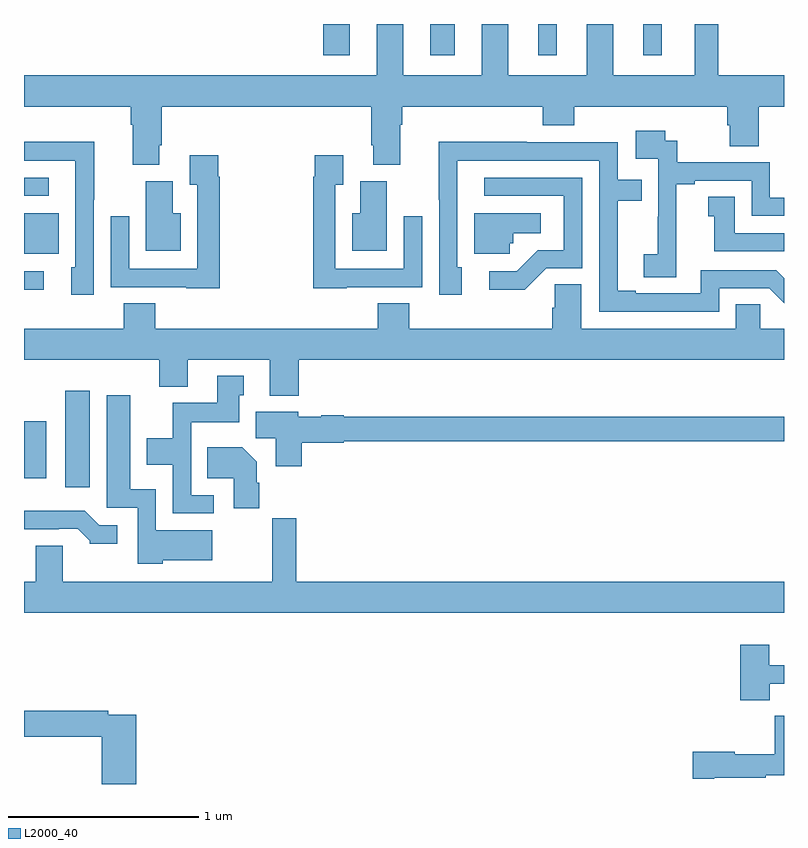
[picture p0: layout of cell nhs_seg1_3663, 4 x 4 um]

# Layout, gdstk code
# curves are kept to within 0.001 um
import gdstk
lib = gdstk.Library(unit=1e-6, precision=1e-09)
def R(c, l, rs):  # rectangles x0, y0, x1, y1
    for r in rs: c.add(gdstk.rectangle(r[:2], r[2:], *l))
def P(c, l, *ps):  # polygons
    for p in ps: c.add(gdstk.Polygon(p, *l))
L2000_40 = (2000, 40)

nhs_seg1_3663 = lib.new_cell('nhs_seg1_3663')
R(nhs_seg1_3663, L2000_40, [(311.216,517.761,311.347,518.269), (311,517.808,311.116,518.107), (311,518.801,311.104,518.898), (311,518.991,311.182,519.202), (311,519.294,311.131,519.39), (312.575,520.035,312.715,520.199), (313.139,520.035,313.267,520.199), (313.706,520.035,313.804,520.199), (314.258,520.035,314.356,520.199)])
P(nhs_seg1_3663, L2000_40, [(311,519.764),(311.561,519.764),(311.561,519.668),(311.573,519.668),(311.573,519.457),(311.713,519.457),(311.713,519.562),(311.726,519.562),(311.726,519.764),(312.827,519.764),(312.827,519.562),(312.839,519.562),(312.839,519.457),(312.979,519.457),(312.979,519.668),(312.992,519.668),(312.992,519.764),(313.73,519.764),(313.73,519.665),(313.895,519.665),(313.895,519.764),(314.702,519.764),(314.702,519.666),(314.714,519.666),(314.714,519.556),(314.867,519.556),(314.867,519.764),(315,519.764),(315,519.928),(314.653,519.928),(314.653,520.199),(314.531,520.199),(314.531,519.928),(314.101,519.928),(314.101,520.199),(313.961,520.199),(313.961,519.928),(313.549,519.928),(313.549,520.199),(313.409,520.199),(313.409,519.928),(312.997,519.928),(312.997,520.199),(312.857,520.199),(312.857,519.928),(311,519.928)],
  [(314.432,518.977),(314.434,518.977),(314.434,519.355),(314.53,519.355),(314.53,519.375),(314.829,519.375),(314.829,519.189),(315,519.189),(315,519.285),(314.925,519.285),(314.925,519.471),(314.438,519.471),(314.438,519.585),(314.376,519.585),(314.376,519.637),(314.22,519.637),(314.22,519.489),(314.337,519.489),(314.337,519.185),(314.336,519.185),(314.336,518.988),(314.262,518.988),(314.262,518.866),(314.432,518.866)],
  [(314.658,518.808),(314.922,518.808),(315,518.73),(315,518.862),(314.958,518.904),(314.562,518.904),(314.562,518.781),(314.221,518.781),(314.221,518.796),(314.125,518.796),(314.125,519.27),(314.252,519.27),(314.252,519.378),(314.124,519.378),(314.124,519.576),(313.646,519.576),(313.646,519.578),(313.184,519.578),(313.185,518.775),(313.303,518.775),(313.303,518.919),(313.281,518.919),(313.281,519.48),(314.028,519.48),(314.028,518.685),(314.658,518.685)],
  [(311.367,519.274),(311.369,519.274),(311.369,519.578),(311,519.578),(311,519.48),(311.271,519.48),(311.271,518.919),(311.249,518.919),(311.249,518.775),(311.367,518.775)],
  [(312.699,518.814),(313.095,518.814),(313.095,519.187),(312.999,519.187),(312.999,518.91),(312.639,518.91),(312.639,519.352),(312.679,519.352),(312.679,519.508),(312.531,519.508),(312.531,519.395),(312.523,519.395),(312.523,518.807),(312.699,518.807)],
  [(312.029,519.395),(312.022,519.395),(312.022,519.508),(311.873,519.508),(311.873,519.352),(311.913,519.352),(311.913,518.91),(311.553,518.91),(311.553,519.187),(311.457,519.187),(311.457,518.814),(311.853,518.814),(311.853,518.807),(312.029,518.807)],
  [(313.749,518.913),(313.938,518.913),(313.938,519.39),(313.422,519.39),(313.422,519.294),(313.842,519.294),(313.842,519.009),(313.704,519.009),(313.593,518.898),(313.449,518.898),(313.449,518.801),(313.636,518.801)],
  [(312.91,519.371),(312.77,519.371),(312.77,519.202),(312.728,519.202),(312.728,519.005),(312.91,519.005)],
  [(311.824,519.202),(311.782,519.202),(311.782,519.371),(311.642,519.371),(311.642,519.005),(311.824,519.005)],
  [(315,519.099),(314.74,519.099),(314.74,519.29),(314.6,519.29),(314.6,519.187),(314.633,519.187),(314.633,519.003),(315,519.003)],
  [(313.557,519.045),(313.575,519.045),(313.575,519.098),(313.72,519.098),(313.72,519.202),(313.37,519.202),(313.37,518.991),(313.557,518.991)],
  [(312.446,518.432),(315,518.432),(315,518.596),(314.874,518.596),(314.874,518.723),(314.747,518.723),(314.747,518.596),(313.933,518.596),(313.933,518.828),(313.794,518.828),(313.794,518.705),(313.781,518.705),(313.781,518.596),(313.028,518.596),(313.028,518.729),(312.863,518.729),(312.863,518.596),(311.69,518.596),(311.69,518.729),(311.525,518.729),(311.525,518.596),(311,518.596),(311,518.432),(311.711,518.432),(311.711,518.291),(311.863,518.291),(311.863,518.432),(312.293,518.432),(312.293,518.243),(312.446,518.243)],
  [(311.998,517.719),(311.88,517.719),(311.88,518.102),(312.133,518.102),(312.133,518.244),(312.157,518.244),(312.157,518.347),(312.017,518.347),(312.017,518.206),(311.782,518.206),(311.782,518.02),(311.645,518.02),(311.645,517.88),(311.784,517.88),(311.784,517.623),(311.998,517.623)],
  [(311.73,517.376),(311.992,517.376),(311.992,517.534),(311.694,517.534),(311.694,517.75),(311.56,517.75),(311.56,518.245),(311.435,518.245),(311.435,517.653),(311.598,517.653),(311.598,517.358),(311.73,517.358)],
  [(312.461,517.994),(312.684,517.994),(312.684,518.002),(315,518.002),(315,518.131),(312.684,518.131),(312.684,518.139),(312.564,518.139),(312.564,518.131),(312.444,518.131),(312.444,518.158),(312.221,518.158),(312.221,518.02),(312.326,518.02),(312.326,517.871),(312.461,517.871)],
  [(312.239,517.784),(312.226,517.784),(312.226,517.894),(312.148,517.972),(311.965,517.972),(311.965,517.808),(312.104,517.808),(312.104,517.65),(312.239,517.65)],
  [(311.491,517.56),(311.397,517.56),(311.321,517.636),(311,517.636),(311,517.539),(311.183,517.539),(311.183,517.542),(311.282,517.542),(311.346,517.478),(311.346,517.463),(311.491,517.463)],
  [(315,517.264),(312.434,517.264),(312.434,517.597),(312.306,517.597),(312.306,517.264),(311.203,517.264),(311.203,517.454),(311.063,517.454),(311.063,517.264),(311,517.264),(311,517.1),(315,517.1)],
  [(314.926,516.726),(315,516.726),(315,516.825),(314.923,516.825),(314.923,516.931),(314.771,516.931),(314.771,516.641),(314.926,516.641)],
  [(311.591,516.564),(311.444,516.564),(311.444,516.584),(311,516.584),(311,516.448),(311.408,516.448),(311.408,516.199),(311.591,516.199)],
  [(314.632,516.233),(314.904,516.233),(314.904,516.245),(315,516.245),(315,516.559),(314.95,516.559),(314.95,516.355),(314.742,516.355),(314.742,516.368),(314.52,516.368),(314.52,516.226),(314.632,516.226)])

lib.write_gds('nhs_seg1_3663.gds')
